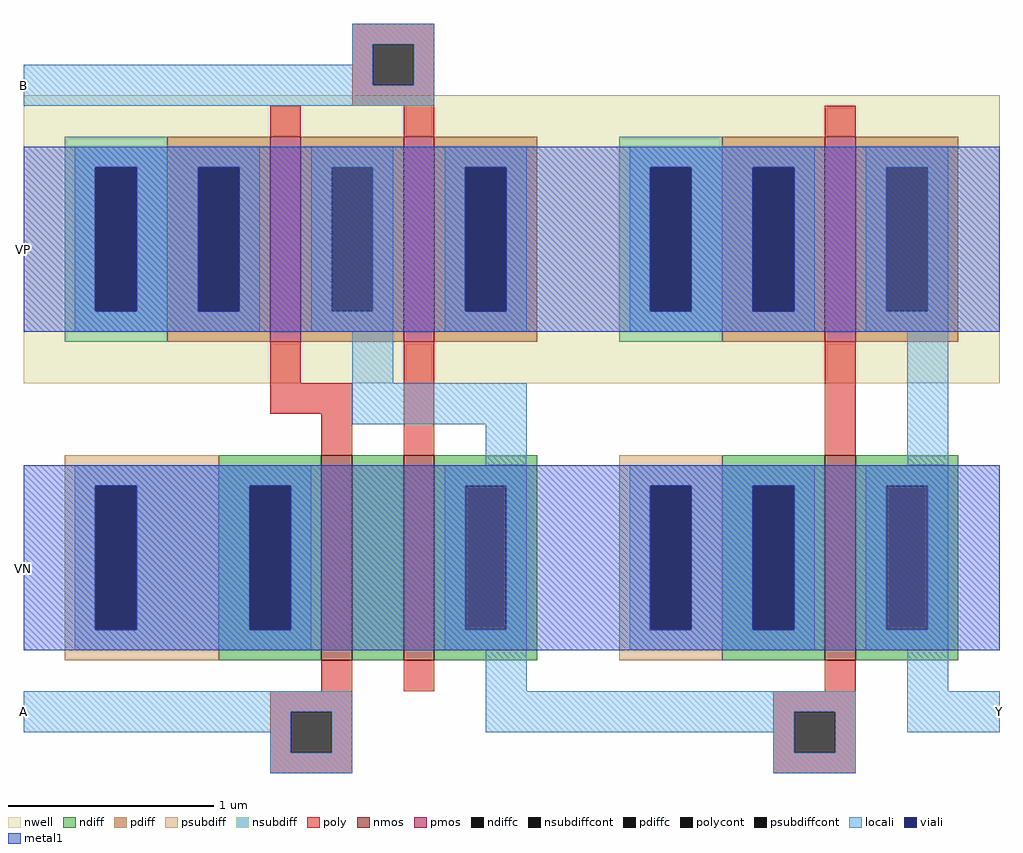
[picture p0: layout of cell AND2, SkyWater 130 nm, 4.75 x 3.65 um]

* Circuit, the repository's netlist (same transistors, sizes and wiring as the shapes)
* SPICE3 file created from AND2.ext - technology: sky130A

.subckt inverter A Y VP VN
X0 Y A VN VN sky130_fd_pr__nfet_01v8 ad=5e+11p pd=3e+06u as=5e+11p ps=3e+06u w=1e+06u l=150000u
X1 Y A VP VP sky130_fd_pr__pfet_01v8 ad=5e+11p pd=3e+06u as=5e+11p ps=3e+06u w=1e+06u l=150000u
.ends

.subckt NAND2 A B Y VP VN
X0 a_30_0# A VN VN sky130_fd_pr__nfet_01v8 ad=2.5e+11p pd=2.5e+06u as=5e+11p ps=3e+06u w=1e+06u l=150000u
X1 VP B Y VP sky130_fd_pr__pfet_01v8 ad=1e+12p pd=6e+06u as=5e+11p ps=3e+06u w=1e+06u l=150000u
X2 Y A VP VP sky130_fd_pr__pfet_01v8 ad=0p pd=0u as=0p ps=0u w=1e+06u l=150000u
X3 Y B a_30_0# VN sky130_fd_pr__nfet_01v8 ad=5e+11p pd=3e+06u as=0p ps=0u w=1e+06u l=150000u
.ends


* Top level circuit AND2

Xinverter_0 NAND2_0/Y Y VP VN inverter
XNAND2_0 A B NAND2_0/Y VP VN NAND2
.end

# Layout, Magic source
magic
tech sky130A
<< locali >>
rect 0 325 20 345
rect 0 20 20 40
rect 455 20 475 40
<< metal1 >>
rect 0 215 15 305
rect 0 60 15 150
use NAND2  NAND2_0
transform 1 0 145 0 1 55
box -145 -55 125 310
use inverter  inverter_0
transform 1 0 800 0 1 200
box -530 -200 -325 130
<< labels >>
rlabel metal1 0 255 0 255 7 VP
rlabel metal1 0 100 0 100 7 VN
rlabel locali 475 30 475 30 3 Y
rlabel locali 0 335 0 335 7 B
rlabel locali 0 30 0 30 7 A
<< end >>

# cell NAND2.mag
magic
tech sky130A
<< nwell >>
rect -145 135 125 275
<< nmos >>
rect 0 0 15 100
rect 40 0 55 100
<< pmos >>
rect -25 155 -10 255
rect 40 155 55 255
<< ndiff >>
rect -50 85 0 100
rect -50 15 -35 85
rect -15 15 0 85
rect -50 0 0 15
rect 15 0 40 100
rect 55 85 105 100
rect 55 15 70 85
rect 90 15 105 85
rect 55 0 105 15
<< pdiff >>
rect -75 240 -25 255
rect -75 170 -60 240
rect -40 170 -25 240
rect -75 155 -25 170
rect -10 240 40 255
rect -10 170 5 240
rect 25 170 40 240
rect -10 155 40 170
rect 55 240 105 255
rect 55 170 70 240
rect 90 170 105 240
rect 55 155 105 170
<< ndiffc >>
rect -35 15 -15 85
rect 70 15 90 85
<< pdiffc >>
rect -60 170 -40 240
rect 5 170 25 240
rect 70 170 90 240
<< psubdiff >>
rect -125 85 -50 100
rect -125 15 -110 85
rect -90 15 -50 85
rect -125 0 -50 15
<< nsubdiff >>
rect -125 240 -75 255
rect -125 170 -110 240
rect -90 170 -75 240
rect -125 155 -75 170
<< psubdiffcont >>
rect -110 15 -90 85
<< nsubdiffcont >>
rect -110 170 -90 240
<< poly >>
rect 15 300 55 310
rect 15 280 25 300
rect 45 280 55 300
rect 15 270 55 280
rect -25 255 -10 270
rect 40 255 55 270
rect -25 135 -10 155
rect -25 120 15 135
rect 0 100 15 120
rect 40 100 55 155
rect 0 -15 15 0
rect 40 -15 55 0
rect -25 -25 15 -15
rect -25 -45 -15 -25
rect 5 -45 15 -25
rect -25 -55 15 -45
<< polycont >>
rect 25 280 45 300
rect -15 -45 5 -25
<< locali >>
rect 15 300 55 310
rect 15 290 25 300
rect -145 280 25 290
rect 45 280 55 300
rect -145 270 55 280
rect -120 240 -30 250
rect -120 170 -110 240
rect -90 170 -60 240
rect -40 170 -30 240
rect -120 160 -30 170
rect -5 240 35 250
rect -5 170 5 240
rect 25 170 35 240
rect -5 160 35 170
rect 60 240 100 250
rect 60 170 70 240
rect 90 170 100 240
rect 60 160 100 170
rect 15 135 35 160
rect 15 115 100 135
rect 80 95 100 115
rect -120 85 -5 95
rect -120 15 -110 85
rect -90 15 -35 85
rect -15 15 -5 85
rect -120 5 -5 15
rect 60 85 100 95
rect 60 15 70 85
rect 90 15 100 85
rect 60 5 100 15
rect 80 -15 100 5
rect -145 -25 15 -15
rect -145 -35 -15 -25
rect -25 -45 -15 -35
rect 5 -45 15 -25
rect 80 -35 125 -15
rect -25 -55 15 -45
<< viali >>
rect -110 170 -90 240
rect -60 170 -40 240
rect 70 170 90 240
rect -110 15 -90 85
rect -35 15 -15 85
<< metal1 >>
rect -145 240 125 250
rect -145 170 -110 240
rect -90 170 -60 240
rect -40 170 70 240
rect 90 170 125 240
rect -145 160 125 170
rect -145 85 125 95
rect -145 15 -110 85
rect -90 15 -35 85
rect -15 15 125 85
rect -145 5 125 15
<< labels >>
rlabel locali -145 -25 -145 -25 7 A
port 1 w
rlabel locali 125 -25 125 -25 3 Y
port 3 e
rlabel metal1 -145 205 -145 205 7 VP
port 4 w
rlabel locali -145 280 -145 280 7 B
port 2 w
rlabel metal1 -145 50 -145 50 7 VN
port 5 w
<< end >>

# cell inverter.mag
magic
tech sky130A
<< nwell >>
rect -530 -10 -325 130
<< nmos >>
rect -410 -145 -395 -45
<< pmos >>
rect -410 10 -395 110
<< ndiff >>
rect -460 -60 -410 -45
rect -460 -130 -445 -60
rect -425 -130 -410 -60
rect -460 -145 -410 -130
rect -395 -60 -345 -45
rect -395 -130 -380 -60
rect -360 -130 -345 -60
rect -395 -145 -345 -130
<< pdiff >>
rect -460 95 -410 110
rect -460 25 -445 95
rect -425 25 -410 95
rect -460 10 -410 25
rect -395 95 -345 110
rect -395 25 -380 95
rect -360 25 -345 95
rect -395 10 -345 25
<< ndiffc >>
rect -445 -130 -425 -60
rect -380 -130 -360 -60
<< pdiffc >>
rect -445 25 -425 95
rect -380 25 -360 95
<< psubdiff >>
rect -510 -60 -460 -45
rect -510 -130 -495 -60
rect -475 -130 -460 -60
rect -510 -145 -460 -130
<< nsubdiff >>
rect -510 95 -460 110
rect -510 25 -495 95
rect -475 25 -460 95
rect -510 10 -460 25
<< psubdiffcont >>
rect -495 -130 -475 -60
<< nsubdiffcont >>
rect -495 25 -475 95
<< poly >>
rect -410 110 -395 125
rect -410 -45 -395 10
rect -410 -160 -395 -145
rect -435 -170 -395 -160
rect -435 -190 -425 -170
rect -405 -190 -395 -170
rect -435 -200 -395 -190
<< polycont >>
rect -425 -190 -405 -170
<< locali >>
rect -505 95 -415 105
rect -505 25 -495 95
rect -475 25 -445 95
rect -425 25 -415 95
rect -505 15 -415 25
rect -390 95 -350 105
rect -390 25 -380 95
rect -360 25 -350 95
rect -390 15 -350 25
rect -370 -50 -350 15
rect -505 -60 -415 -50
rect -505 -130 -495 -60
rect -475 -130 -445 -60
rect -425 -130 -415 -60
rect -505 -140 -415 -130
rect -390 -60 -350 -50
rect -390 -130 -380 -60
rect -360 -130 -350 -60
rect -390 -140 -350 -130
rect -370 -160 -350 -140
rect -530 -170 -395 -160
rect -530 -180 -425 -170
rect -435 -190 -425 -180
rect -405 -190 -395 -170
rect -370 -180 -325 -160
rect -435 -200 -395 -190
<< viali >>
rect -495 25 -475 95
rect -445 25 -425 95
rect -495 -130 -475 -60
rect -445 -130 -425 -60
<< metal1 >>
rect -530 95 -325 105
rect -530 25 -495 95
rect -475 25 -445 95
rect -425 25 -325 95
rect -530 15 -325 25
rect -530 -60 -325 -50
rect -530 -130 -495 -60
rect -475 -130 -445 -60
rect -425 -130 -325 -60
rect -530 -140 -325 -130
<< labels >>
rlabel space -510 -160 -345 -30 1 :
rlabel locali -530 -170 -530 -170 7 A
port 1 w
rlabel locali -325 -170 -325 -170 3 Y
port 2 e
rlabel metal1 -530 -96 -530 -95 7 VN
port 4 w
rlabel metal1 -530 60 -530 60 7 VP
port 3 w
<< end >>
